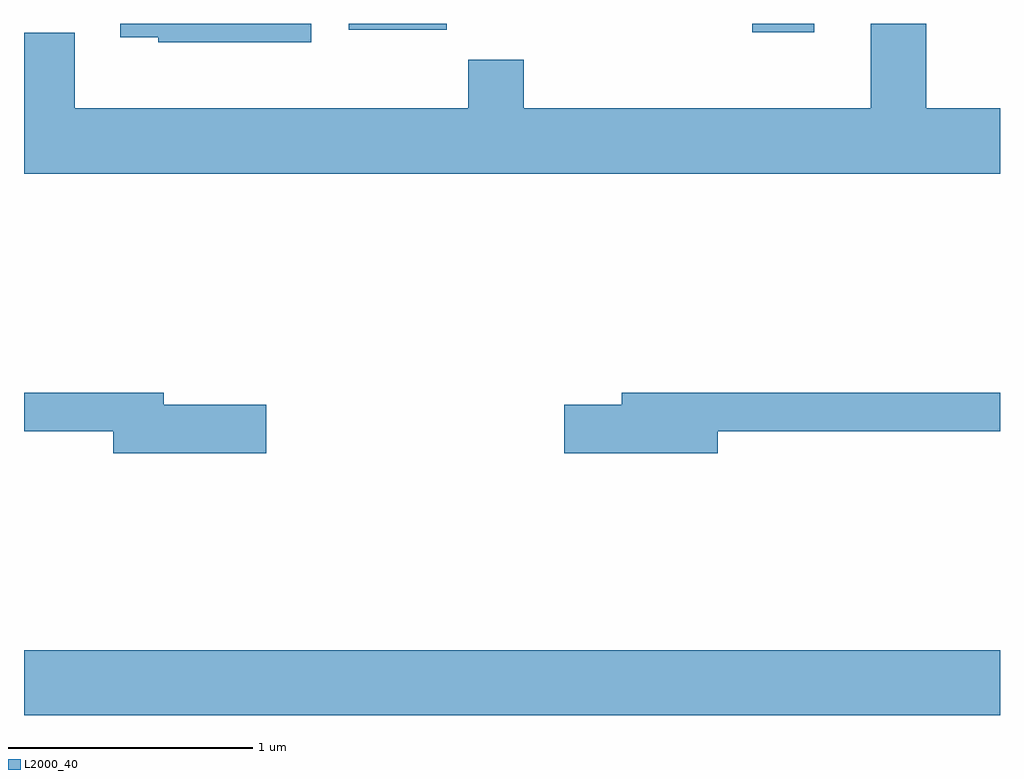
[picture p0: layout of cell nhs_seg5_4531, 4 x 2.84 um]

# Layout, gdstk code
import gdstk
lib = gdstk.Library(unit=1e-6, precision=1e-09)
def R(c, l, rs):  # rectangles x0, y0, x1, y1
    for r in rs: c.add(gdstk.rectangle(r[:2], r[2:], *l))
def P(c, l, *ps):  # polygons
    for p in ps: c.add(gdstk.Polygon(p, *l))
L2000_40 = (2000, 40)

nhs_seg5_4531 = lib.new_cell('nhs_seg5_4531')
R(nhs_seg5_4531, L2000_40, [(319.611,1461.236,323.611,1461.504), (322.596,1464.036,322.849,1464.072), (320.941,1464.046,321.344,1464.072)])
P(nhs_seg5_4531, L2000_40, [(323.611,1463.724),(323.309,1463.724),(323.309,1464.072),(323.081,1464.072),(323.081,1463.724),(321.659,1463.724),(321.659,1463.924),(321.431,1463.924),(321.431,1463.724),(319.819,1463.724),(319.819,1464.034),(319.611,1464.034),(319.611,1463.456),(323.611,1463.456)],
  [(320.789,1464.072),(320.006,1464.072),(320.006,1464.016),(320.161,1464.016),(320.161,1463.996),(320.789,1463.996)],
  [(320.604,1462.509),(320.184,1462.509),(320.184,1462.559),(319.611,1462.559),(319.611,1462.401),(319.976,1462.401),(319.976,1462.311),(320.604,1462.311)],
  [(322.454,1462.401),(323.611,1462.401),(323.611,1462.559),(322.061,1462.559),(322.061,1462.509),(321.826,1462.509),(321.826,1462.311),(322.454,1462.311)])

lib.write_gds('nhs_seg5_4531.gds')
